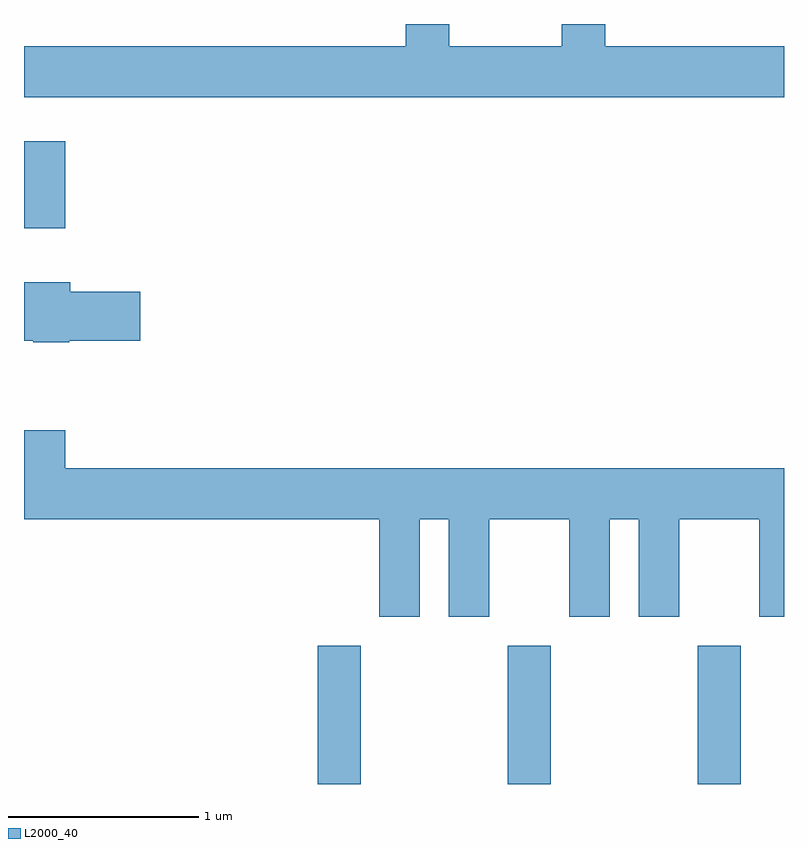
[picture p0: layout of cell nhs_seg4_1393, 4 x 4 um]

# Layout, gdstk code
import gdstk
lib = gdstk.Library(unit=1e-6, precision=1e-09)
def R(c, l, rs):  # rectangles x0, y0, x1, y1
    for r in rs: c.add(gdstk.rectangle(r[:2], r[2:], *l))
def A(c, l, x, y, w, h, nx, ny, dx, dy):  # array of equal rectangles
    R(c, l, [(x+i*dx, y+j*dy, x+i*dx+w, y+j*dy+h) for i in range(nx) for j in range(ny)])
def P(c, l, *ps):  # polygons
    for p in ps: c.add(gdstk.Polygon(p, *l))
L2000_40 = (2000, 40)

nhs_seg4_1393 = lib.new_cell('nhs_seg4_1393')
A(nhs_seg4_1393, L2000_40, 227.156, 1319.982, 0.228, 0.727, 3, 1, 1, 0)
R(nhs_seg4_1393, L2000_40, [(225.611,1322.906,225.829,1323.364)])
P(nhs_seg4_1393, L2000_40, [(229.611,1323.864),(228.669,1323.864),(228.669,1323.982),(228.441,1323.982),(228.441,1323.864),(227.849,1323.864),(227.849,1323.982),(227.621,1323.982),(227.621,1323.864),(225.611,1323.864),(225.611,1323.596),(229.611,1323.596)],
  [(225.85,1322.316),(226.224,1322.316),(226.224,1322.574),(225.854,1322.574),(225.854,1322.624),(225.611,1322.624),(225.611,1322.316),(225.66,1322.316),(225.66,1322.306),(225.85,1322.306)],
  [(227.694,1321.376),(227.846,1321.376),(227.846,1320.861),(228.059,1320.861),(228.059,1321.376),(228.481,1321.376),(228.481,1320.861),(228.694,1320.861),(228.694,1321.376),(228.846,1321.376),(228.846,1320.861),(229.059,1320.861),(229.059,1321.376),(229.481,1321.376),(229.481,1320.861),(229.611,1320.861),(229.611,1321.644),(225.829,1321.644),(225.829,1321.844),(225.611,1321.844),(225.611,1321.376),(227.481,1321.376),(227.481,1320.861),(227.694,1320.861)])

lib.write_gds('nhs_seg4_1393.gds')
